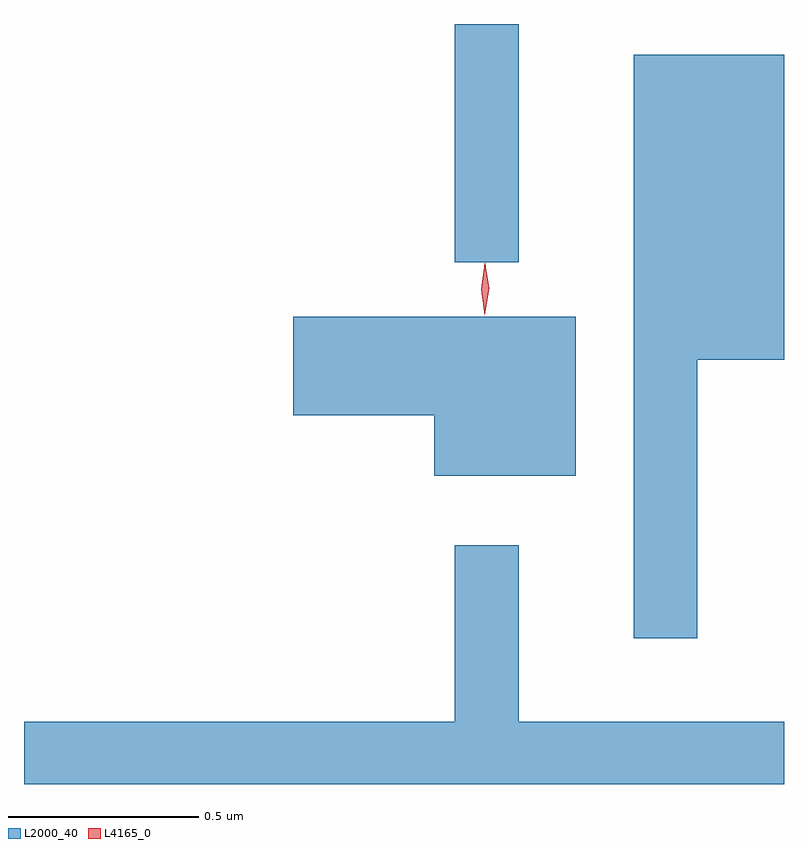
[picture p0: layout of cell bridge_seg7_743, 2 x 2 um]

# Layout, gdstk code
import gdstk
lib = gdstk.Library(unit=1e-6, precision=1e-09)
def R(c, l, rs):  # rectangles x0, y0, x1, y1
    for r in rs: c.add(gdstk.rectangle(r[:2], r[2:], *l))
def P(c, l, *ps):  # polygons
    for p in ps: c.add(gdstk.Polygon(p, *l))
L2000_40 = (2000, 40)
L4165_0 = (4165, 0)

bridge_seg7_743 = lib.new_cell('bridge_seg7_743')
R(bridge_seg7_743, L2000_40, [(553.531,1757.973,553.699,1758.6)])
P(bridge_seg7_743, L2000_40, [(554.169,1757.716),(554.397,1757.716),(554.397,1758.519),(554.001,1758.519),(554.001,1756.983),(554.169,1756.983)],
  [(553.849,1757.829),(553.106,1757.829),(553.106,1757.571),(553.476,1757.571),(553.476,1757.411),(553.849,1757.411)],
  [(554.397,1756.764),(553.699,1756.764),(553.699,1757.228),(553.531,1757.228),(553.531,1756.764),(552.397,1756.764),(552.397,1756.6),(554.397,1756.6)])
P(bridge_seg7_743, L4165_0, [(553.611,1757.84),(553.61,1757.841),(553.601,1757.904),(553.61,1757.966),(553.611,1757.967),(553.611,1757.966),(553.621,1757.904),(553.611,1757.841)],
  [(553.609,1757.834),(553.609,1757.834),(553.6,1757.902),(553.61,1757.97),(553.611,1757.97),(553.611,1757.97),(553.62,1757.902),(553.61,1757.834)])

lib.write_gds('bridge_seg7_743.gds')
